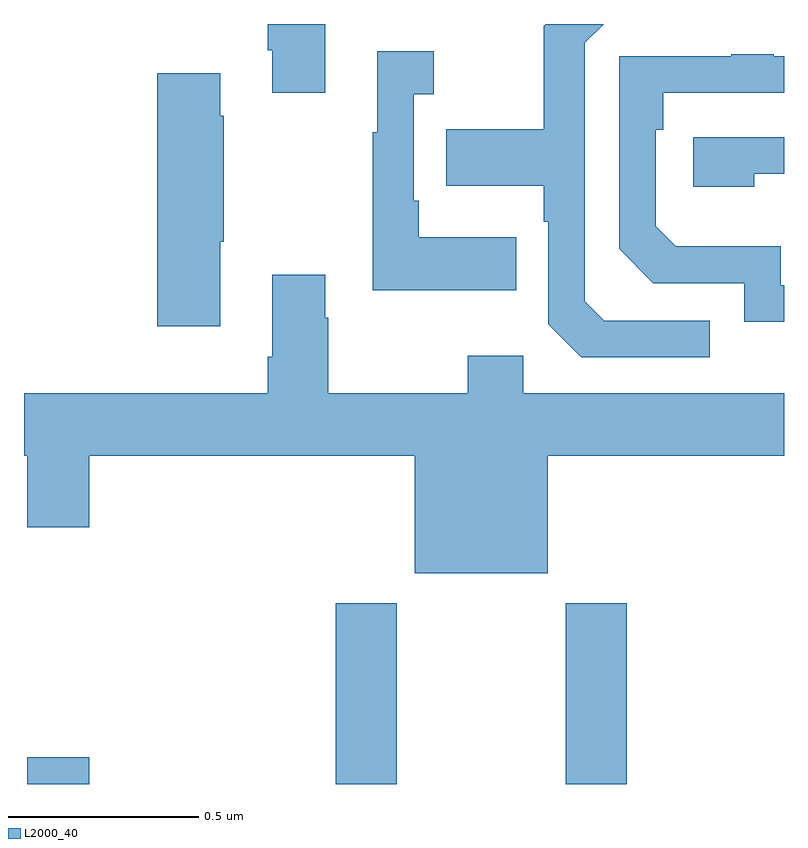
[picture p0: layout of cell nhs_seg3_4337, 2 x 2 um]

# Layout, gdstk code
import gdstk
lib = gdstk.Library(unit=1e-6, precision=1e-09)
def R(c, l, rs):  # rectangles x0, y0, x1, y1
    for r in rs: c.add(gdstk.rectangle(r[:2], r[2:], *l))
def P(c, l, *ps):  # polygons
    for p in ps: c.add(gdstk.Polygon(p, *l))
L2000_40 = (2000, 40)

nhs_seg3_4337 = lib.new_cell('nhs_seg3_4337')
R(nhs_seg3_4337, L2000_40, [(165.008,685.4,165.172,685.471), (165.821,685.4,165.981,685.876), (166.426,685.4,166.586,685.876)])
P(nhs_seg3_4337, L2000_40, [(165.793,687.4),(165.641,687.4),(165.641,687.331),(165.653,687.331),(165.653,687.219),(165.793,687.219)],
  [(166.804,686.619),(166.527,686.619),(166.476,686.67),(166.476,687.351),(166.525,687.4),(166.373,687.4),(166.368,687.395),(166.368,687.123),(166.111,687.123),(166.111,686.975),(166.368,686.975),(166.368,686.879),(166.38,686.879),(166.38,686.61),(166.467,686.523),(166.804,686.523)],
  [(166.295,686.839),(166.039,686.839),(166.039,686.935),(166.026,686.935),(166.026,687.215),(166.078,687.215),(166.078,687.328),(165.929,687.328),(165.929,687.115),(165.918,687.115),(165.918,686.699),(166.295,686.699)],
  [(167,686.712),(166.992,686.712),(166.992,686.815),(166.715,686.815),(166.662,686.868),(166.662,687.122),(166.682,687.122),(166.682,687.219),(167,687.219),(167,687.315),(166.973,687.315),(166.973,687.32),(166.861,687.32),(166.861,687.315),(166.566,687.315),(166.566,686.808),(166.656,686.718),(166.896,686.718),(166.896,686.616),(167,686.616)],
  [(165.517,686.827),(165.525,686.827),(165.525,687.158),(165.517,687.158),(165.517,687.271),(165.35,687.271),(165.35,686.604),(165.517,686.604)],
  [(166.922,687.006),(167,687.006),(167,687.102),(166.761,687.102),(166.761,686.972),(166.922,686.972)],
  [(166.378,686.264),(167,686.264),(167,686.428),(166.314,686.428),(166.314,686.527),(166.168,686.527),(166.168,686.428),(165.801,686.428),(165.801,686.627),(165.793,686.627),(165.793,686.74),(165.653,686.74),(165.653,686.524),(165.641,686.524),(165.641,686.428),(165,686.428),(165,686.264),(165.008,686.264),(165.008,686.076),(165.172,686.076),(165.172,686.264),(166.028,686.264),(166.028,685.955),(166.378,685.955)])

lib.write_gds('nhs_seg3_4337.gds')
